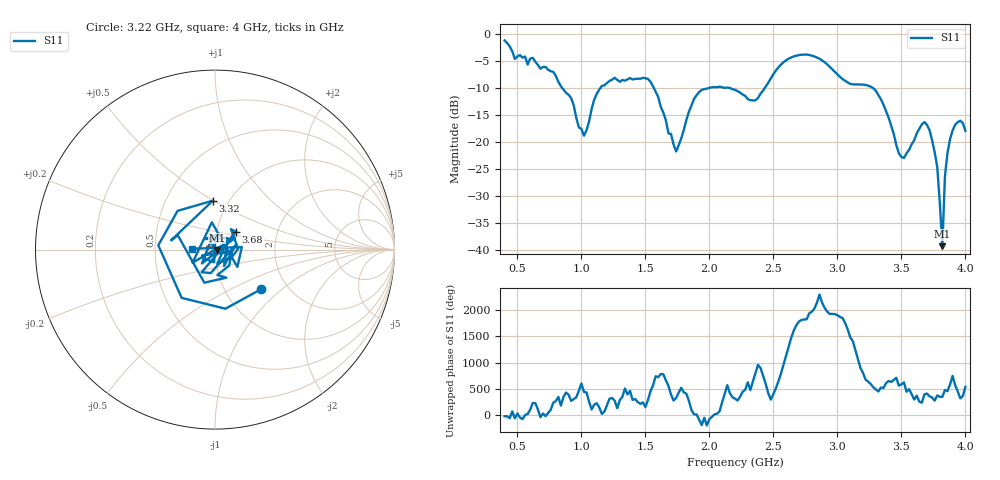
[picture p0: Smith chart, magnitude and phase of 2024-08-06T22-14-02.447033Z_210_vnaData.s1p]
!Created with skrf (http://scikit-rf.org).
# Hz S RI R 50.0
!freq ReS11 ImS11
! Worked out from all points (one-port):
!   181 points, 400 MHz to 4 GHz, reference 50 ohm
!   lowest |S11| = -39.3 dB at 3.82 GHz (marker M1), VSWR 1.02, Z = 51.1 - j0.195 ohm
!   |S11| at or under -10 dB: 851.7 MHz to 1.147 GHz (295.4 MHz wide, 29.6 % of centre); 1.567 GHz to 1.99 GHz (423.4 MHz wide, 23.8 % of centre); 3.281 GHz to end of sweep (the widest 3 of 4)
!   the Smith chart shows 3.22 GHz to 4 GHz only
!   S11 on the Smith chart (normalised r, x): 3.22 GHz: 1.48, -0.73; 3.32 GHz: 0.84, +0.50; 3.68 GHz: 1.24, +0.25; 4 GHz: 0.77, +0.01
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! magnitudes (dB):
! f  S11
! 400 MHz  -1.1
! 480 MHz  -4.6
! 620 MHz  -4.4
! 860 MHz  -10.3
! 1.02 GHz  -18.8
! 1.14 GHz  -10.2
! 1.3 GHz  -8.8
! 1.52 GHz  -8.3
! 1.74 GHz  -21.8
! 1.76 GHz  -20.6
! 1.92 GHz  -10.7
! 2.2 GHz  -10.3
! 2.36 GHz  -12.2
! 2.66 GHz  -4.1
! 2.86 GHz  -4.5
! 3.1 GHz  -9.2
! 3.22 GHz  -9.4
! 3.32 GHz  -11.3
! 3.48 GHz  -22.1
! 3.56 GHz  -21.5
! 3.68 GHz  -16.3
! 3.72 GHz  -17.8
! 3.78 GHz  -24.6
! 3.82 GHz  -39.3
! 3.84 GHz  -26.4
! 3.88 GHz  -19.5
! 3.96 GHz  -16.0
! 4 GHz  -17.9
